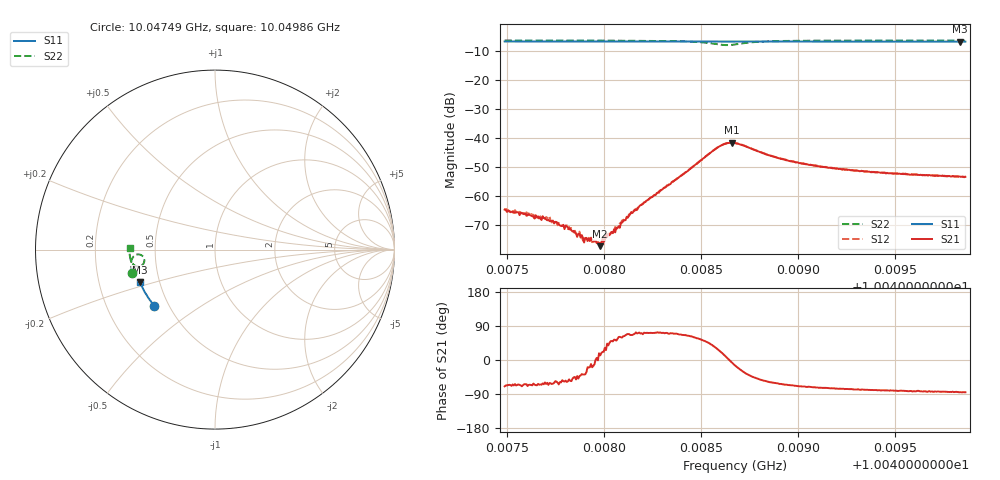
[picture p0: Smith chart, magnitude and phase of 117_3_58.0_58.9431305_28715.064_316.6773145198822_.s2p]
#  HZ  S  RI  R  50.00
! Rohde & Schwarz Vector Network Analyzer
! Rohde-Schwarz,ZNB20-2Port,1311601062101988,3.16
! Created: UTC 3/21/2024, 12:55:28 AM
! freq[Hz]  re:S11  im:S11  re:S21  im:S21  re:S12  im:S12  re:S22  im:S22
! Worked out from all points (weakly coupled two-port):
!   401 points, 10.04749 GHz to 10.04986 GHz, reference 50 ohm
!   highest |S21| = -41.59 dB at 10.04866 GHz (marker M1); lowest = -77.2 dB at 10.04798 GHz (marker M2)
!   lowest |S11| = -6.8 dB at 10.04983 GHz (marker M3), VSWR 2.68, Z = 19.4 - j8.9 ohm
!   |S11| at or under -10 dB: nowhere
!   |S22| runs from -8.0 to -6.4 dB; largest |S21 - S12| = 0.00059
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1.0047489e10  -0.3373 -0.313  0.000207 -0.000553  0.000278 -0.000514  -0.4599 -0.1303
1.0047708e10  -0.3467 -0.3019  0.000192 -0.000336  0.000218 -0.000368  -0.4635 -0.1145
1.0047738e10  -0.3478 -0.3004  0.000177 -0.000338  0.000204 -0.000305  -0.4638 -0.1122
1.0047815e10  -0.3511 -0.2963  0.000161 -0.00024  0.000185 -0.000202  -0.4647 -0.1064
1.0047886e10  -0.354 -0.2926  0.000172 -0.00013  0.000174 -0.000122  -0.4656 -0.1009
1.0047904e10  -0.3547 -0.2916  0.000152 -0.000117  0.000158 -9.99e-05  -0.4657 -0.0994
1.0047921e10  -0.3555 -0.2906  0.000176 -6.19e-05  0.000171 -9.03e-05  -0.4659 -0.098
1.0047981e10  -0.3579 -0.2876  0.000136 2.94e-05  0.000148 5.9e-05  -0.4665 -0.0931
1.0047987e10  -0.3581 -0.2872  0.000154 5.17e-05  0.000134 4.03e-05  -0.4665 -0.0927
1.0048022e10  -0.3595 -0.2853  0.000178 0.000142  0.00016 0.000136  -0.4667 -0.0895
1.004807e10  -0.3614 -0.2829  0.000157 0.000235  0.000138 0.000255  -0.467 -0.0853
1.0048141e10  -0.3642 -0.2791  0.000219 0.00049  0.000164 0.000512  -0.4672 -0.0787
1.0048283e10  -0.3697 -0.2714  0.00038 0.00115  0.000305 0.00111  -0.4658 -0.0633
1.0048579e10  -0.3799 -0.2545  0.00578 0.00345  0.00558 0.00379  -0.4124 -0.0299
1.0048621e10  -0.3811 -0.2524  0.00775 0.00167  0.00771 0.00215  -0.396 -0.0475
1.0048656e10  -0.3823 -0.2507  0.00828 -0.000856  0.00834 -0.000274  -0.3948 -0.0701
1.0048674e10  -0.3828 -0.2498  0.00799 -0.00205  0.00811 -0.00155  -0.3997 -0.0799
1.0048893e10  -0.3908 -0.2377  0.00218 -0.00403  0.00242 -0.00389  -0.4605 -0.0767
1.0049071e10  -0.3967 -0.2273  0.00107 -0.00325  0.00128 -0.00319  -0.4704 -0.0557
1.0049468e10  -0.4084 -0.2039  0.000395 -0.00245  0.000569 -0.00244  -0.4757 -0.0211
1.004983e10  -0.418 -0.1819  0.000182 -0.00219  0.000314 -0.00217  -0.4763 0.00564
1.004986e10  -0.4188 -0.1802  0.000183 -0.00215  0.000304 -0.00214  -0.4763 0.00776
